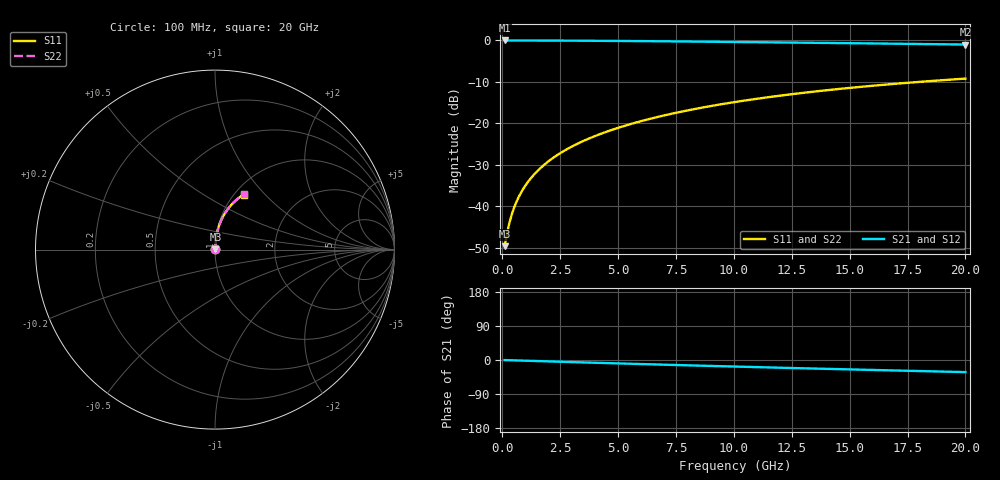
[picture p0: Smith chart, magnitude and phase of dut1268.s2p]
! Touchstone file exported from HFSS 2024.1.0
!  File:  C:/UserFiles/LocalFiles/RDL_TSV_Batchsim/temp_RDL_top_1268_1780242068.aedt
!  Generated:  11:43:35 PM May 31, 2026
!  Design:  RDL_top
!  Project:  temp_RDL_top_1268_1780242068
!  Setup:  Setup1
!  Solution:  Sweep
! Variables:
!  dtsv = 10.80580581um
!  hbump = 3um
!  htsv = 82.03um
!  ldown = 100um
!  lrdl = 401.35um
!  p = 40
!  p1 = 51.63um
!  rhole = 1um
!  t = 450um
!  tdown = 3.915915916um
!  trdl = 3.05um
!  wdown = 15.38538539um
!  wrdl = 18.4um
# GHz S MA R 50.000000
! Terminal data exported
! Port[1] = Box2_T1
! Port[2] = Box2_T2
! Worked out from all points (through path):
!   200 points, 100 MHz to 20 GHz, reference 50 ohm
!   highest |S21| = -0.02 dB at 100 MHz (marker M1); lowest = -1.0 dB at 20 GHz (marker M2)
!   group delay of S21, straight-line fit = 4.42 ps
!   lowest |S11| = -49.6 dB at 100 MHz (marker M3), VSWR 1.01, Z = 50.3 + j0.186 ohm
!   |S11| at or under -10 dB: start of sweep to 18.04 GHz
!   |S22| runs from -49.6 to -9.2 dB; largest |S21 - S12| = 2.6e-15
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0.1  0.0033 34.1  0.9973 -0.2  0.9973 -0.2  0.0033 34.1
! Gamma 0 0 0 0
! Port Impedance 50 0 50 0
0.2  0.004624 52.6  0.9972 -0.4  0.9972 -0.4  0.004624 52.6
0.3  0.006184 61.9  0.9971 -0.6  0.9971 -0.6  0.006184 61.9
0.4  0.007812 67.3  0.9969 -0.8  0.9969 -0.8  0.007812 67.3
0.5  0.009461 70.8  0.9968 -0.9  0.9968 -0.9  0.009461 70.8
0.6  0.01112 73.3  0.9967 -1.1  0.9967 -1.1  0.01112 73.3
0.8  0.01446 76.6  0.9964 -1.5  0.9964 -1.5  0.01446 76.6
1.1  0.01951 79.5  0.996 -2.0  0.996 -2.0  0.01951 79.5
1.3  0.0229 80.7  0.9957 -2.4  0.9957 -2.4  0.0229 80.7
1.6  0.02803 81.9  0.9952 -3.0  0.9952 -3.0  0.02803 81.9
2.1  0.03666 83.0  0.9942 -3.9  0.9942 -3.9  0.03666 83.0
2.7  0.04711 83.6  0.9927 -5.0  0.9927 -5.0  0.04711 83.6
3.5  0.06121 83.7  0.9901 -6.4  0.9901 -6.4  0.06122 83.8
4.2  0.0737 83.5  0.9875 -7.6  0.9875 -7.6  0.0737 83.5
5  0.08812 83.0  0.9841 -9.0  0.9841 -9.0  0.08812 83.0
5.9  0.1045 82.2  0.9799 -10.6  0.9799 -10.6  0.1045 82.2
6.8  0.121 81.3  0.9753 -12.1  0.9753 -12.1  0.121 81.3
8.4  0.1504 79.3  0.9664 -14.7  0.9664 -14.7  0.1504 79.3
10.1  0.1814 77.0  0.9562 -17.4  0.9562 -17.4  0.1814 77.0
13.4  0.24 72.2  0.9353 -22.5  0.9353 -22.5  0.24 72.2
16.7  0.2951 67.3  0.9132 -27.3  0.9132 -27.3  0.2952 67.3
20  0.3459 62.6  0.8903 -31.9  0.8903 -31.9  0.3459 62.6
